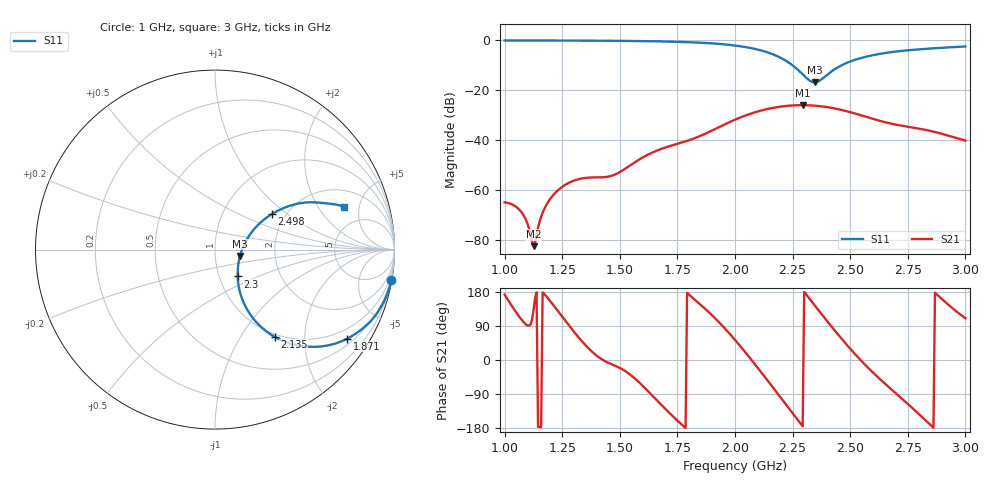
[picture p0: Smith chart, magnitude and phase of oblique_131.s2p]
! TOUCHSTONE file generated by CST MICROWAVE STUDIO
! Date and time: Tue Mar 18 00:02:13 2025
! Project name: oblique.cst
! Parameters = {Tilt=40; Fracture=1; B=10; D=160; F=15; Feed=2.85625; L=100; M=30; R=0.384908; S=1; Theta=180; length=57.125; wave=114.25}
! Header version: 2024
! Port assignment regex: !\s*Touchstone port\s*([0-9]+)\s*=\s*(CST MWS port|CST DES external port|CST DES block port)\s*(.+)\s* \(\"(.*)\"\)(\s*mode\s*([0-9]+))?.*
! Touchstone port assignment:
! Touchstone port 1 = CST MWS port 1 ("")
! Touchstone port 2 = CST MWS port 2 ("")
# GHz S DB R 50
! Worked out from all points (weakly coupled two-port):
!   304 points, 1 GHz to 3 GHz, reference 50 ohm
!   highest |S21| = -25.95 dB at 2.294 GHz (marker M1); lowest = -82.5 dB at 1.125 GHz (marker M2)
!   lowest |S11| = -16.8 dB at 2.347 GHz (marker M3), VSWR 1.34, Z = 66 - j4.71 ohm
!   |S11| at or under -10 dB: 2.25 GHz to 2.462 GHz (212.1 MHz wide, 9 % of centre)
!   S12 and S22 are empty: the file has one direction only
!   S11 on the Smith chart (normalised r, x): 1 GHz: 0, -12; 1.871 GHz: 0.67, -3.15; 2.135 GHz: 0.96, -1.42; 2.3 GHz: 1.22, -0.38; 2.498 GHz: 1.70, +0.79; 3 GHz: 3.11, +3.48
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1  -0.02 -9.8  -64.89 172.5  -200.00 0.0  -200.00 0.0
1.07261  -0.03 -10.8  -68.77 107.1  -200.00 0.0  -200.00 0.0
1.09901  -0.03 -11.2  -73.38 91.2  -200.00 0.0  -200.00 0.0
1.11881  -0.03 -11.5  -80.46 104.8  -200.00 0.0  -200.00 0.0
1.12541  -0.04 -11.6  -82.45 131.9  -200.00 0.0  -200.00 0.0
1.13201  -0.04 -11.7  -81.00 163.0  -200.00 0.0  -200.00 0.0
1.16502  -0.04 -12.2  -69.09 178.5  -200.00 0.0  -200.00 0.0
1.20462  -0.05 -12.8  -62.70 150.3  -200.00 0.0  -200.00 0.0
1.26403  -0.07 -13.9  -57.83 103.0  -200.00 0.0  -200.00 0.0
1.33663  -0.09 -15.2  -55.30 48.8  -200.00 0.0  -200.00 0.0
1.46865  -0.16 -18.2  -54.13 -12.3  -200.00 0.0  -200.00 0.0
1.66667  -0.39 -24.3  -43.95 -109.8  -200.00 0.0  -200.00 0.0
1.87129  -1.03 -34.0  -37.38 134.7  -200.00 0.0  -200.00 0.0
2.0033  -2.09 -43.5  -31.65 50.7  -200.00 0.0  -200.00 0.0
2.13531  -4.61 -55.7  -27.60 -49.2  -200.00 0.0  -200.00 0.0
2.29373  -13.57 -52.6  -25.95 -174.9  -200.00 0.0  -200.00 0.0
2.30033  -14.17 -49.8  -25.96 179.8  -200.00 0.0  -200.00 0.0
2.33993  -16.79 -20.4  -26.11 148.7  -200.00 0.0  -200.00 0.0
2.34653  -16.84 -14.0  -26.16 143.6  -200.00 0.0  -200.00 0.0
2.49835  -8.51 32.0  -28.70 31.0  -200.00 0.0  -200.00 0.0
2.66997  -4.80 27.2  -33.20 -72.7  -200.00 0.0  -200.00 0.0
3  -2.44 18.5  -40.15 110.0  -200.00 0.0  -200.00 0.0
